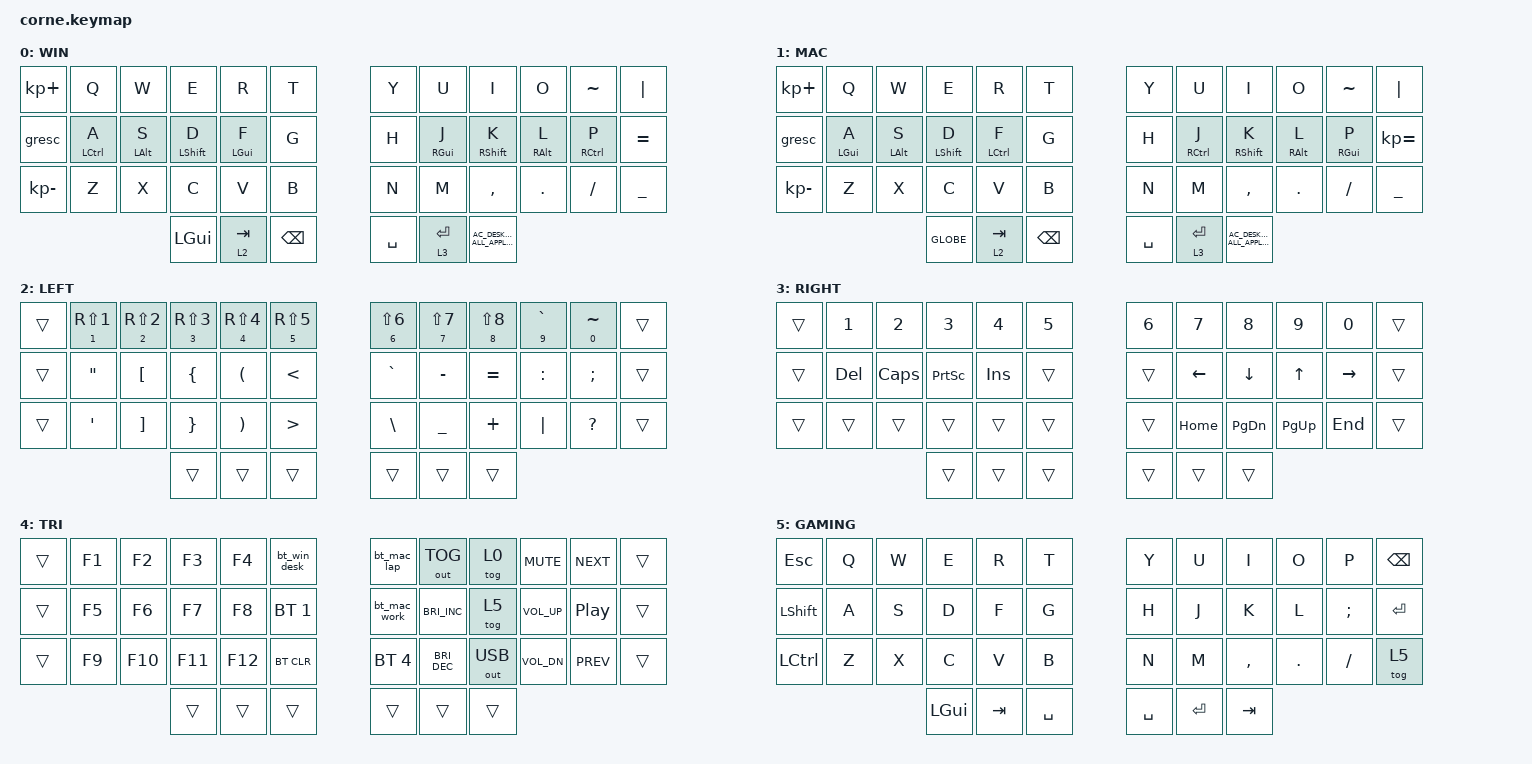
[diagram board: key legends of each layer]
/*
 * Copyright (c) 2020 The ZMK Contributors
 *
 * SPDX-License-Identifier: MIT
 */

#include <behaviors.dtsi>
#include <dt-bindings/zmk/bt.h>
#include <dt-bindings/zmk/keys.h>
#include <dt-bindings/zmk/outputs.h>

&lt { quick-tap-ms = <150>; };

/ {
    behaviors {
        HM_L: HM_L {
            compatible = "zmk,behavior-hold-tap";
            label = "HM_L";
            bindings = <&kp>, <&kp>;

            #binding-cells = <2>;
            tapping-term-ms = <200>;
            quick-tap-ms = <150>;
            hold-trigger-key-positions = <13 14 15 16>;
            flavor = "tap-preferred";
            hold-trigger-on-release;
        };

        HM_R: HM_R {
            compatible = "zmk,behavior-hold-tap";
            label = "HM_R";
            bindings = <&kp>, <&kp>;

            #binding-cells = <2>;
            tapping-term-ms = <200>;
            quick-tap-ms = <150>;
            flavor = "tap-preferred";
            hold-trigger-key-positions = <19 21 20 22>;
            hold-trigger-on-release;
        };
    };

    macros {
        mac_lang: hangul {
            compatible = "zmk,behavior-macro";
            #binding-cells = <0>;
            bindings = <&kp LEFT_CONTROL &kp SPACE>, <&macro_press>;

            label = "HANGUL";
        };

        win_lang: key_combo_lang {
            compatible = "zmk,behavior-macro";
            #binding-cells = <0>;
            bindings = <&kp LSHIFT &kp RIGHT_ALT>, <&macro_press>;

            label = "KEY_COMBO_LANG";
        };

        bt_mac_lap: bt_mac {
            compatible = "zmk,behavior-macro";
            #binding-cells = <0>;
            bindings = <&bt BT_SEL 2 &to 1>;
            label = "BT_MAC";
        };

        bt_win_desk: bt_layer_1 {
            compatible = "zmk,behavior-macro";
            #binding-cells = <0>;
            bindings = <&bt BT_SEL 0 &to 0>;
            label = "BT_LAYER_1";
        };

        meh: meh {
            compatible = "zmk,behavior-macro";
            #binding-cells = <0>;
            bindings = <&kp LSHFT &kp LCTRL &kp LALT>;
            label = "MEH";
        };

        hyper: hyper {
            compatible = "zmk,behavior-macro";
            #binding-cells = <0>;
            bindings = <&kp LSHFT &kp LEFT_SHIFT &kp LALT &kp LGUI>;
            label = "HYPER";
        };

        screen_shot_mac: screen_shot_mac {
            compatible = "zmk,behavior-macro";
            #binding-cells = <0>;
            bindings =
                <&kp LEFT_SHIFT &kp LEFT_COMMAND &kp NUMBER_3>,
                <&macro_press>;

            label = "SCREEN_SHOT_MAC";
        };

        sc_mac_part: sc_mac_part {
            compatible = "zmk,behavior-macro";
            #binding-cells = <0>;
            bindings =
                <&kp LEFT_SHIFT &kp LEFT_COMMAND &kp NUMBER_4>,
                <&macro_press>;

            label = "SC_MAC_PART";
        };

        bt_mac_work: bt_mac_wolrk {
            compatible = "zmk,behavior-macro";
            #binding-cells = <0>;
            bindings = <&bt BT_SEL 3 &to 1>;
            label = "BT_MAC_WOLRK";
        };
    };

    keymap {
        compatible = "zmk,keymap";

        windows_layer {
            display-name = "WIN";

            //╭──────────┬──────────┬──────────┬──────────┬──────────┬──────────╮   ╭──────────┬──────────┬──────────┬──────────┬──────────┬──────────╮
            //|  +       |  Q       |  W       |  E       |  R       |  T       |   |  Y       |  U       |  I       |  O       |  BSPC    |  |       |
            //├──────────┼──────────┼──────────┼──────────┼──────────┼──────────┤   ├──────────┼──────────┼──────────┼──────────┼──────────┼──────────┤
            //|  ESC     |  A  CTRL |  S  ALT  |  D  SHFT |  F   GUI |  G       |   |  H       |  J   GUI |  K  SHFT |  L  ALT  |  p  CTRL |  =       |
            //├──────────┼──────────┼──────────┼──────────┼──────────┼──────────┤   ├──────────┼──────────┼──────────┼──────────┼──────────┼──────────┤
            //|  -       |  Z       |  X       |  C       |  V       |  B       |   |  N       |  M       |  ,       |  .       |  ENT     |  _       |   
            //╰──────────┴──────────┴──────────┼──────────┼──────────┼──────────┤   ├──────────┼──────────┼──────────┼──────────┴──────────┴──────────╯
            //                                 | GUI      | LWR  Tab | BSPC     |   | SPC      | RSE  Ent | ALT      |
            //                                 ╰──────────┴──────────┴──────────╯   ╰──────────┴──────────┴──────────╯

            bindings = <
&kp KP_PLUS      &kp Q          &kp W         &kp E               &kp R         &kp T            &kp Y      &kp U         &kp I                                   &kp O         &kp TILDE      &kp PIPE
&gresc           &HM_L LCTRL A  &HM_L LALT S  &HM_L LEFT_SHIFT D  &HM_L LGUI F  &kp G            &kp H      &HM_R RGUI J  &HM_R RIGHT_SHIFT K                     &HM_R RALT L  &HM_R RCTRL P  &kp EQUAL
&kp KP_SUBTRACT  &kp Z          &kp X         &kp C               &kp V         &kp B            &kp N      &kp M         &kp COMMA                               &kp DOT       &kp FSLH       &kp UNDERSCORE
                                              &kp LGUI            &lt 2 TAB     &kp BACKSPACE    &kp SPACE  &lt 3 ENTER   &kp C_AC_DESKTOP_SHOW_ALL_APPLICATIONS
            >;
        };

        mac_layer {
            display-name = "MAC";

            //╭──────────┬──────────┬──────────┬──────────┬──────────┬──────────╮   ╭──────────┬──────────┬──────────┬──────────┬──────────┬──────────╮
            //|  +       |  Q       |  W       |  E       |  R       |  T       |   |  Y       |  U       |  I       |  O       |   BSPC   |  |       |  
            //├──────────┼──────────┼──────────┼──────────┼──────────┼──────────┤   ├──────────┼──────────┼──────────┼──────────┼──────────┼──────────┤
            //|  ESC     |  A  GUI  |  S  ALT  |  D  SHFT |  F  CTRL |  G       |   |  H       |  J   GUI |  K  SHFT |  L  ALT  |  p  GUI  |  =       |
            //├──────────┼──────────┼──────────┼──────────┼──────────┼──────────┤   ├──────────┼──────────┼──────────┼──────────┼──────────┼──────────┤
            //|  -       |  Z       |  X       |  C       |  V       |  B       |   |  N       |  M       |  ,       |  .       |    ent   |  _       |   
            //╰──────────┴──────────┴──────────┼──────────┼──────────┼──────────┤   ├──────────┼──────────┼──────────┼──────────┴──────────┴──────────╯
            //                                 | GUI      | LWR  Tab | BSPC     |   | SPC      | RSE  Ent | ALT      |
            //                                 ╰──────────┴──────────┴──────────╯   ╰──────────┴──────────┴──────────╯

            bindings = <
&kp KP_PLUS      &kp Q             &kp W         &kp E               &kp R                 &kp T            &kp Y      &kp U          &kp I                                   &kp O         &kp TILDE     &kp PIPE
&gresc           &HM_L LEFT_GUI A  &HM_L LALT S  &HM_L LEFT_SHIFT D  &HM_L LEFT_CONTROL F  &kp G            &kp H      &HM_R RCTRL J  &HM_R RIGHT_SHIFT K                     &HM_R RALT L  &HM_R RGUI P  &kp KP_EQUAL
&kp KP_SUBTRACT  &kp Z             &kp X         &kp C               &kp V                 &kp B            &kp N      &kp M          &kp COMMA                               &kp DOT       &kp FSLH      &kp UNDERSCORE
                                                 &kp GLOBE           &lt 2 TAB             &kp BACKSPACE    &kp SPACE  &lt 3 ENTER    &kp C_AC_DESKTOP_SHOW_ALL_APPLICATIONS
            >;
        };

        left_layer {
            display-name = "LEFT";

            //╭──────────┬──────────┬──────────┬──────────┬──────────┬──────────╮   ╭──────────┬──────────┬──────────┬──────────┬──────────┬──────────╮
            //|          |  1    !  |  2    @  |  3    #  |  4    $  |  5    %  |   |  6    ^  |  7    &  |  8    *  |  9    `  |  0    ~  |          |
            //├──────────┼──────────┼──────────┼──────────┼──────────┼──────────┤   ├──────────┼──────────┼──────────┼──────────┼──────────┼──────────┤
            //|          |    del   |   caps   |   print  |   inst   |          |   |          |   left   |   down   |    up    |   right  |          |
            //├──────────┼──────────┼──────────┼──────────┼──────────┼──────────┤   ├──────────┼──────────┼──────────┼──────────┼──────────┼──────────┤
            //|          |          |          |          |          |          |   |          |   home   |   pg dw  |   pg up  |    end   |          |
            //╰──────────┴──────────┴──────────┼──────────┼──────────┼──────────┤   ├──────────┼──────────┼──────────┼──────────┴──────────┴──────────╯
            //                                 |          |          |          |   |          |          |          |
            //                                 ╰──────────┴──────────┴──────────╯   ╰──────────┴──────────┴──────────╯

            bindings = <
&trans  &mt N1 RS(N1)  &mt N2 RS(N2)  &mt N3 RS(N3)  &mt N4 RS(N4)  &mt N5 RS(N5)    &mt N6 LS(N6)  &mt N7 LS(N7)  &mt N8 LS(N8)  &mt N9 GRAVE  &mt N0 TILDE  &trans
&trans  &kp DQT        &kp LBKT       &kp LBRC       &kp LPAR       &kp LESS_THAN    &kp GRAVE      &kp MINUS      &kp EQUAL      &kp COLON     &kp SEMI      &trans
&trans  &kp SQT        &kp RBKT       &kp RBRC       &kp RPAR       &kp GT           &kp BSLH       &kp UNDER      &kp PLUS       &kp PIPE      &kp QMARK     &trans
                                      &trans         &trans         &trans           &trans         &trans         &trans
            >;
        };

        right_layer {
            display-name = "RIGHT";

            //╭──────────┬──────────┬──────────┬──────────┬──────────┬──────────╮   ╭──────────┬──────────┬──────────┬──────────┬──────────┬──────────╮
            //|          |     !    |     @    |     #    |     $    |     %    |   |     ^    |     &    |     *    |     `    |     ~    |          |
            //├──────────┼──────────┼──────────┼──────────┼──────────┼──────────┤   ├──────────┼──────────┼──────────┼──────────┼──────────┼──────────┤
            //|          |     "    |     [    |     {    |    (     |     <    |   |     /    |     -    |     =    |     :    |     ;    |          |
            //├──────────┼──────────┼──────────┼──────────┼──────────┼──────────┤   ├──────────┼──────────┼──────────┼──────────┼──────────┼──────────┤
            //|          |     '    |     ]    |     }    |    )     |     >    |   |     \    |     _    |     +    |     |    |     ?    |          |
            //╰──────────┴──────────┴──────────┼──────────┼──────────┼──────────┤   ├──────────┼──────────┼──────────┼──────────┴──────────┴──────────╯
            //                                 |          |          |          |   |          |          |          |
            //                                 ╰──────────┴──────────┴──────────╯   ╰──────────┴──────────┴──────────╯

            bindings = <
&trans  &kp N1      &kp N2    &kp N3           &kp N4   &kp N5    &kp N6  &kp N7    &kp N8          &kp N9        &kp N0     &trans
&trans  &kp DELETE  &kp CAPS  &kp PRINTSCREEN  &kp INS  &trans    &trans  &kp LEFT  &kp DOWN_ARROW  &kp UP_ARROW  &kp RIGHT  &trans
&trans  &trans      &trans    &trans           &trans   &trans    &trans  &kp HOME  &kp PG_DN       &kp PG_UP     &kp END    &trans
                              &trans           &trans   &trans    &trans  &trans    &trans
            >;
        };

        tri_layer {
            display-name = "TRI";

            //╭──────────┬──────────┬──────────┬──────────┬──────────┬──────────╮   ╭──────────┬──────────┬──────────┬──────────┬──────────┬──────────╮
            //|          |    f1    |    f2    |    f3    |    f4    |   pro_0  |   |   pro_2  |  tg out  |    win   |   mute   |   next   |          |
            //├──────────┼──────────┼──────────┼──────────┼──────────┼──────────┤   ├──────────┼──────────┼──────────┼──────────┼──────────┼──────────┤
            //|          |    f5    |    f6    |    f7    |    f8    |   pro_1  |   |   pro_3  |  inc brt |   game   |  vol up  |   pause  |          |
            //├──────────┼──────────┼──────────┼──────────┼──────────┼──────────┤   ├──────────┼──────────┼──────────┼──────────┼──────────┼──────────┤
            //|          |    f9    |    f10   |   f11    |   f12    |  BT_CLR  |   |   pro_4  |  dec brt |          |  vol dn  |   prev   |          |
            //╰──────────┴──────────┴──────────┼──────────┼──────────┼──────────┤   ├──────────┼──────────┼──────────┼──────────┴──────────┴──────────╯
            //                                 |          |          |          |   |          |          |          |
            //                                 ╰──────────┴──────────┴──────────╯   ╰──────────┴──────────┴──────────╯

            bindings = <
&trans  &kp F1  &kp F2   &kp F3   &kp F4   &bt_win_desk    &bt_mac_lap   &out OUT_TOG          &tog 0        &kp C_MUTE    &kp C_NEXT        &trans
&trans  &kp F5  &kp F6   &kp F7   &kp F8   &bt BT_SEL 1    &bt_mac_work  &kp C_BRIGHTNESS_INC  &tog 5        &kp C_VOL_UP  &kp C_PLAY_PAUSE  &trans
&trans  &kp F9  &kp F10  &kp F11  &kp F12  &bt BT_CLR      &bt BT_SEL 4  &kp C_BRIGHTNESS_DEC  &out OUT_USB  &kp C_VOL_DN  &kp C_PREV        &trans
                         &trans   &trans   &trans          &trans        &trans                &trans
            >;
        };

        Gaming {
            display-name = "GAMING";

            //╭──────────┬──────────┬──────────┬──────────┬──────────┬──────────╮   ╭──────────┬──────────┬──────────┬──────────┬──────────┬──────────╮
            //|  ESC     |  Q       |  W       |  E       |  R       |  T       |   |  Y       |  U       |  I       |  O       |  P       |  BSPC    |
            //├──────────┼──────────┼──────────┼──────────┼──────────┼──────────┤   ├──────────┼──────────┼──────────┼──────────┼──────────┼──────────┤
            //|  LSHFT   |  A       |  S       |  D       |  F       |  G       |   |  H       |  J       |  K       |  L       |  ;       |  '       |
            //├──────────┼──────────┼──────────┼──────────┼──────────┼──────────┤   ├──────────┼──────────┼──────────┼──────────┼──────────┼──────────┤
            //|  LCTR    |  Z       |  X       |  C       |  V       |  B       |   |  N       |  M       |  ,       |  .       |  /       |  Tog 5   |   
            //╰──────────┴──────────┴──────────┼──────────┼──────────┼──────────┤   ├──────────┼──────────┼──────────┼──────────┴──────────┴──────────╯
            //                                 | GUI      |  TAB     |  SPC     |   | SPC      |  ENT     | ALT      |
            //                                 ╰──────────┴──────────┴──────────╯   ╰──────────┴──────────┴──────────╯

            bindings = <
&kp ESC    &kp Q  &kp W  &kp E     &kp R    &kp T        &kp Y      &kp U      &kp I      &kp O    &kp P     &kp BSPC
&kp LSHFT  &kp A  &kp S  &kp D     &kp F    &kp G        &kp H      &kp J      &kp K      &kp L    &kp SEMI  &kp RET
&kp LCTRL  &kp Z  &kp X  &kp C     &kp V    &kp B        &kp N      &kp M      &kp COMMA  &kp DOT  &kp FSLH  &tog 5
                         &kp LGUI  &kp TAB  &kp SPACE    &kp SPACE  &kp ENTER  &kp TAB
            >;
        };
    };

    conditional_layers {
        compatible = "zmk,conditional-layers";

        tri_layer {
            if-layers = <2 3>;
            then-layer = <4>;
        };
    };
};
